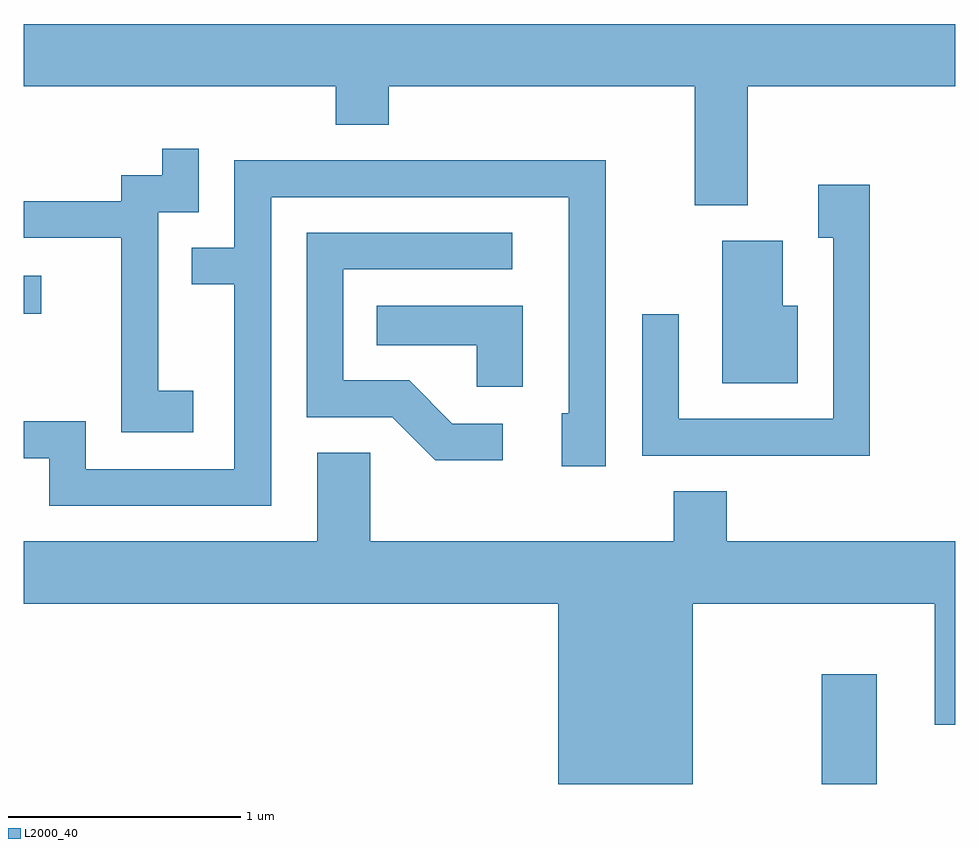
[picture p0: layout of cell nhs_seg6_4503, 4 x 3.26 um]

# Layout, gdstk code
import gdstk
lib = gdstk.Library(unit=1e-6, precision=1e-09)
def R(c, l, rs):  # rectangles x0, y0, x1, y1
    for r in rs: c.add(gdstk.rectangle(r[:2], r[2:], *l))
def P(c, l, *ps):  # polygons
    for p in ps: c.add(gdstk.Polygon(p, *l))
L2000_40 = (2000, 40)

nhs_seg6_4503 = lib.new_cell('nhs_seg6_4503')
R(nhs_seg6_4503, L2000_40, [(327.036,1538.162,327.274,1538.634), (323.611,1540.181,323.688,1540.344)])
P(nhs_seg6_4503, L2000_40, [(326.719,1541.156),(327.611,1541.156),(327.611,1541.424),(323.611,1541.424),(323.611,1541.156),(324.951,1541.156),(324.951,1540.991),(325.179,1540.991),(325.179,1541.156),(326.491,1541.156),(326.491,1540.646),(326.719,1540.646)],
  [(324.339,1539.849),(324.189,1539.849),(324.189,1540.616),(324.364,1540.616),(324.364,1540.888),(324.206,1540.888),(324.206,1540.774),(324.031,1540.774),(324.031,1540.664),(323.611,1540.664),(323.611,1540.506),(324.031,1540.506),(324.031,1539.671),(324.339,1539.671)],
  [(324.674,1540.681),(325.951,1540.681),(325.951,1539.754),(325.921,1539.754),(325.921,1539.526),(326.109,1539.526),(326.109,1540.839),(324.516,1540.839),(324.516,1540.464),(324.333,1540.464),(324.333,1540.306),(324.516,1540.306),(324.516,1539.514),(323.879,1539.514),(323.879,1539.719),(323.611,1539.719),(323.611,1539.561),(323.721,1539.561),(323.721,1539.356),(324.674,1539.356)],
  [(327.244,1540.734),(327.021,1540.734),(327.021,1540.506),(327.086,1540.506),(327.086,1539.729),(326.424,1539.729),(326.424,1540.178),(326.266,1540.178),(326.266,1539.571),(327.244,1539.571)],
  [(325.668,1539.709),(325.452,1539.709),(325.267,1539.894),(324.984,1539.894),(324.984,1540.371),(325.708,1540.371),(325.708,1540.529),(324.826,1540.529),(324.826,1539.736),(325.194,1539.736),(325.379,1539.551),(325.668,1539.551)],
  [(326.934,1540.214),(326.869,1540.214),(326.869,1540.494),(326.611,1540.494),(326.611,1539.881),(326.934,1539.881)],
  [(325.754,1540.214),(325.128,1540.214),(325.128,1540.046),(325.556,1540.046),(325.556,1539.866),(325.754,1539.866)],
  [(326.484,1538.936),(327.521,1538.936),(327.521,1538.416),(327.611,1538.416),(327.611,1539.204),(326.629,1539.204),(326.629,1539.419),(326.401,1539.419),(326.401,1539.204),(325.099,1539.204),(325.099,1539.584),(324.871,1539.584),(324.871,1539.204),(323.611,1539.204),(323.611,1538.936),(325.906,1538.936),(325.906,1538.162),(326.484,1538.162)])

lib.write_gds('nhs_seg6_4503.gds')
